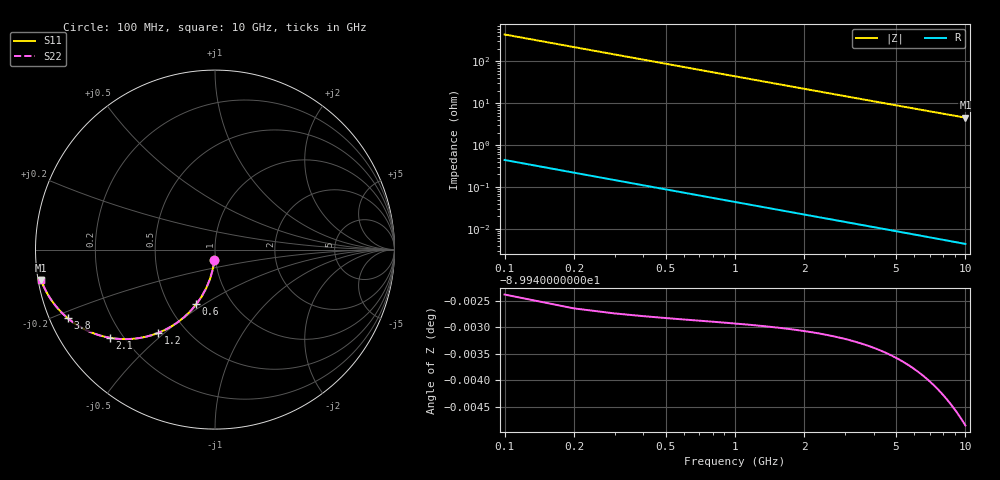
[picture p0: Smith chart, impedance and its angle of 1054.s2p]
# Hz S RI R 50.00
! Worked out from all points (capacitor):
!   100 points, 100 MHz to 10 GHz, reference 50 ohm
!   read as one part in shunt: C = 3.62 pF near 100 MHz
!   lowest |Z| = 4.54 ohm at 10 GHz (marker M1)
!   S11 on the Smith chart (normalised r, x): 100 MHz: 0.99, -0.11; 600 MHz: 0.68, -0.46; 1.2 GHz: 0.35, -0.48; 2.1 GHz: 0.15, -0.36; 3.8 GHz: 0.05, -0.22; 10 GHz: 0.01, -0.09
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1e8  -0.00327 -0.0566  0.9967 -0.0567  0.9967 -0.0567  -0.00327 -0.0566
2e8  -0.0128 -0.1121  0.9871 -0.1122  0.9871 -0.1122  -0.0128 -0.1121
3e8  -0.0284 -0.1654  0.9716 -0.1656  0.9716 -0.1656  -0.0284 -0.1654
4e8  -0.0492 -0.2157  0.9508 -0.216  0.9508 -0.216  -0.0492 -0.2157
5e8  -0.0748 -0.2623  0.9252 -0.2627  0.9252 -0.2627  -0.0748 -0.2623
6e8  -0.1041 -0.3047  0.8959 -0.3051  0.8959 -0.3051  -0.1041 -0.3047
7e8  -0.1364 -0.3425  0.8635 -0.343  0.8635 -0.343  -0.1364 -0.3425
9e8  -0.2068 -0.4042  0.7932 -0.4048  0.7932 -0.4048  -0.2068 -0.4042
1.2e9  -0.3161 -0.464  0.6839 -0.4649  0.6839 -0.4649  -0.3161 -0.464
1.5e9  -0.4187 -0.4923  0.5813 -0.4934  0.5813 -0.4934  -0.4187 -0.4923
1.8e9  -0.5085 -0.4988  0.4914 -0.5001  0.4914 -0.5001  -0.5085 -0.4988
2.1e9  -0.5843 -0.4916  0.4157 -0.4931  0.4157 -0.4931  -0.5843 -0.4916
2.4e9  -0.6469 -0.4766  0.3531 -0.4783  0.3531 -0.4783  -0.6469 -0.4766
2.7e9  -0.6982 -0.4576  0.3018 -0.4595  0.3018 -0.4595  -0.6982 -0.4576
3e9  -0.7404 -0.4369  0.2596 -0.439  0.2596 -0.439  -0.7404 -0.4369
3.4e9  -0.7852 -0.409  0.2148 -0.4114  0.2148 -0.4114  -0.7852 -0.409
3.8e9  -0.82 -0.3823  0.1799 -0.385  0.1799 -0.385  -0.82 -0.3823
4.4e9  -0.8591 -0.3459  0.1409 -0.349  0.1409 -0.349  -0.8591 -0.3459
5.1e9  -0.891 -0.3094  0.109 -0.313  0.109 -0.313  -0.891 -0.3094
6.7e9  -0.9336 -0.2461  0.0664 -0.2508  0.0664 -0.2508  -0.9336 -0.2461
8.4e9  -0.9567 -0.2  0.0433 -0.2061  0.0433 -0.2061  -0.9567 -0.2
1e10  -0.969 -0.169  0.0309 -0.1762  0.0309 -0.1762  -0.969 -0.169
